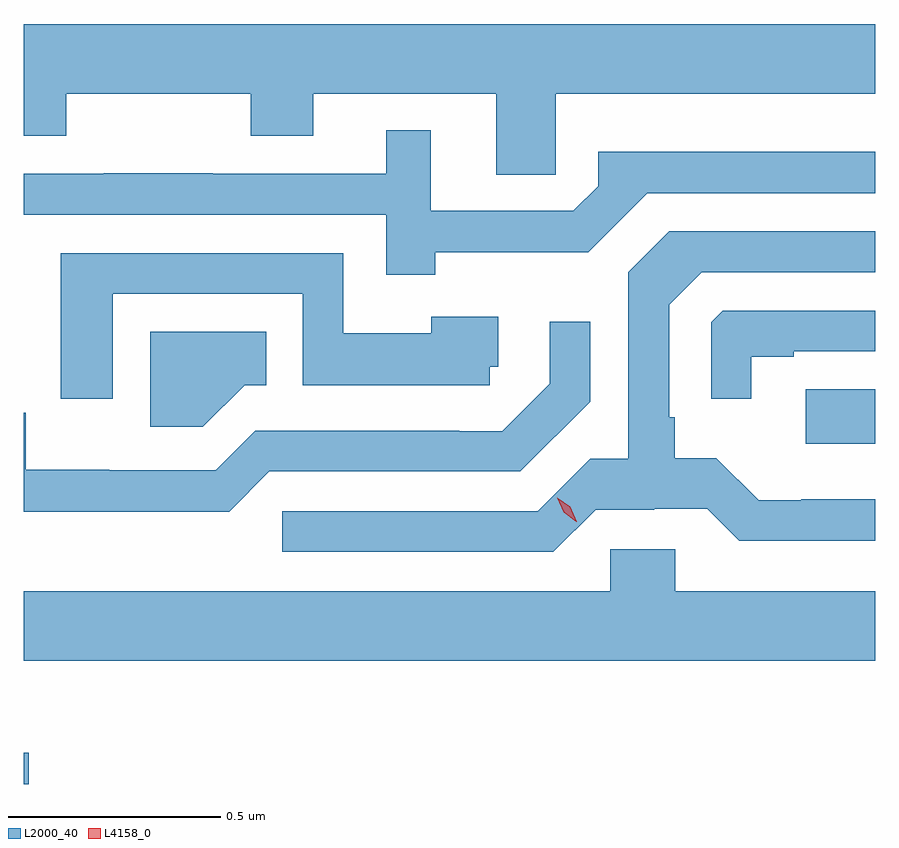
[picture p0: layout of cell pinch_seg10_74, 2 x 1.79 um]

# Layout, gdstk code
import gdstk
lib = gdstk.Library(unit=1e-6, precision=1e-09)
def R(c, l, rs):  # rectangles x0, y0, x1, y1
    for r in rs: c.add(gdstk.rectangle(r[:2], r[2:], *l))
def P(c, l, *ps):  # polygons
    for p in ps: c.add(gdstk.Polygon(p, *l))
L2000_40 = (2000, 40)
L4158_0 = (4158, 0)

pinch_seg10_74 = lib.new_cell('pinch_seg10_74')
R(pinch_seg10_74, L2000_40, [(819.731,1304.023,819.743,1304.096), (821.568,1304.822,821.731,1304.95)])
P(pinch_seg10_74, L2000_40, [(819.731,1305.545),(819.831,1305.545),(819.831,1305.644),(820.264,1305.644),(820.264,1305.545),(820.411,1305.545),(820.411,1305.644),(820.841,1305.644),(820.841,1305.454),(820.98,1305.454),(820.98,1305.644),(821.731,1305.644),(821.731,1305.808),(819.731,1305.808)],
  [(820.697,1305.272),(821.057,1305.272),(821.196,1305.411),(821.731,1305.411),(821.731,1305.508),(821.08,1305.508),(821.08,1305.427),(821.022,1305.369),(820.687,1305.369),(820.687,1305.559),(820.583,1305.559),(820.583,1305.456),(820.175,1305.456),(820.175,1305.458),(819.919,1305.458),(819.919,1305.456),(819.731,1305.456),(819.731,1305.36),(820.583,1305.36),(820.583,1305.219),(820.697,1305.219)],
  [(821.074,1304.667),(821.212,1304.667),(821.212,1304.67),(821.336,1304.67),(821.412,1304.594),(821.731,1304.594),(821.731,1304.692),(821.557,1304.692),(821.557,1304.69),(821.457,1304.69),(821.358,1304.788),(821.26,1304.788),(821.26,1304.884),(821.247,1304.884),(821.247,1305.149),(821.323,1305.225),(821.731,1305.225),(821.731,1305.321),(821.247,1305.321),(821.151,1305.225),(821.151,1304.787),(821.061,1304.787),(820.938,1304.664),(820.338,1304.664),(820.338,1304.568),(820.975,1304.568)],
  [(819.94,1305.174),(820.386,1305.174),(820.386,1304.96),(820.826,1304.96),(820.826,1305.003),(820.845,1305.003),(820.845,1305.121),(820.688,1305.121),(820.688,1305.082),(820.482,1305.082),(820.482,1305.27),(819.818,1305.27),(819.818,1304.928),(819.94,1304.928)],
  [(821.44,1305.027),(821.539,1305.027),(821.539,1305.039),(821.731,1305.039),(821.731,1305.135),(821.373,1305.135),(821.346,1305.108),(821.346,1304.928),(821.44,1304.928)],
  [(820.308,1304.757),(820.897,1304.757),(821.061,1304.921),(821.061,1305.109),(820.967,1305.109),(820.967,1304.963),(820.855,1304.851),(820.754,1304.851),(820.754,1304.853),(820.275,1304.853),(820.182,1304.76),(819.932,1304.76),(819.932,1304.761),(819.736,1304.761),(819.736,1304.895),(819.731,1304.895),(819.731,1304.663),(820.214,1304.663)],
  [(820.25,1304.96),(820.301,1304.96),(820.301,1305.085),(820.028,1305.085),(820.028,1304.862),(820.151,1304.862)],
  [(821.731,1304.476),(821.261,1304.476),(821.261,1304.574),(821.109,1304.574),(821.109,1304.476),(819.731,1304.476),(819.731,1304.312),(821.731,1304.312)])
P(pinch_seg10_74, L4158_0, [(821.029,1304.639),(820.999,1304.661),(820.984,1304.695),(820.984,1304.695),(820.984,1304.695),(821.015,1304.674),(821.03,1304.639),(821.03,1304.639)])

lib.write_gds('pinch_seg10_74.gds')
